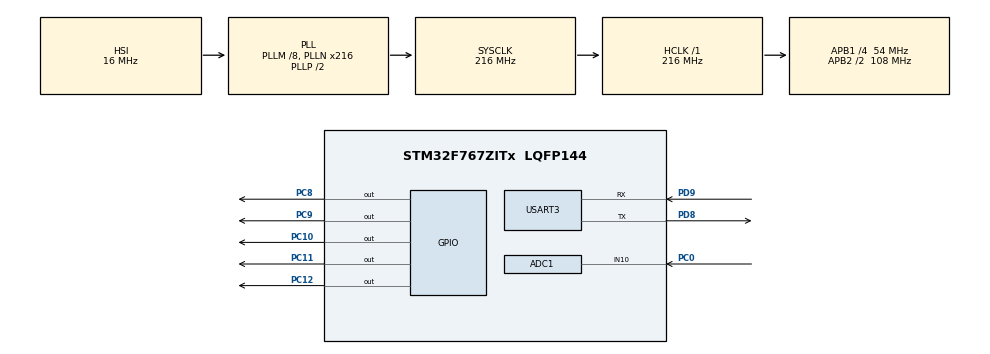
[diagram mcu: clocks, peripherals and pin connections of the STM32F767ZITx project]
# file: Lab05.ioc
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ADC1.Channel-0\#ChannelRegularConversion=ADC_CHANNEL_10
ADC1.ContinuousConvMode=ENABLE
ADC1.EOCSelection=ADC_EOC_SEQ_CONV
ADC1.NbrOfConversionFlag=1
ADC1.Rank-0\#ChannelRegularConversion=1
ADC1.SamplingTime-0\#ChannelRegularConversion=ADC_SAMPLETIME_3CYCLES
ADC1.master=1
Mcu.Family=STM32F7
Mcu.Name=STM32F767ZITx
Mcu.Package=LQFP144
NVIC.PriorityGroup=NVIC_PRIORITYGROUP_4
PC0.Signal=ADCx_IN10
PC10.Signal=GPIO_Output
PC11.Signal=GPIO_Output
PC12.Signal=GPIO_Output
PC8.Signal=GPIO_Output
PC9.Signal=GPIO_Output
PD8.Mode=Asynchronous
PD8.Signal=USART3_TX
PD9.Mode=Asynchronous
PD9.Signal=USART3_RX
ProjectManager.HeapSize=0x200
ProjectManager.StackSize=0x400
ProjectManager.TargetToolchain=STM32CubeIDE
RCC.AHBFreq_Value=216000000
RCC.APB1CLKDivider=RCC_HCLK_DIV4
RCC.APB1Freq_Value=54000000
RCC.APB1TimFreq_Value=108000000
RCC.APB2CLKDivider=RCC_HCLK_DIV2
RCC.APB2Freq_Value=108000000
RCC.APB2TimFreq_Value=216000000
RCC.CortexFreq_Value=216000000
RCC.HCLKFreq_Value=216000000
RCC.HSE_VALUE=25000000
RCC.HSI_VALUE=16000000
RCC.LSE_VALUE=32768
RCC.PLLM=8
RCC.PLLN=216
RCC.SYSCLKFreq_VALUE=216000000
RCC.SYSCLKSource=RCC_SYSCLKSOURCE_PLLCLK
RCC.USBFreq_Value=216000000
RCC.VCOOutputFreq_Value=432000000
SH.ADCx_IN10.0=ADC1_IN10,IN10
USART3.VirtualMode-Asynchronous=VM_ASYNC
board=custom

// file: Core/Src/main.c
/* USER CODE BEGIN Header */
/**
  ******************************************************************************
  * @file           : main.c
  * @brief          : Main program body
  ******************************************************************************
  * @attention
  *
  * Copyright (c) 2023 STMicroelectronics.
  * All rights reserved.
  *
  * This software is licensed under terms that can be found in the LICENSE file
  * in the root directory of this software component.
  * If no LICENSE file comes with this software, it is provided AS-IS.
  *
  ******************************************************************************
  */
/* USER CODE END Header */
#include "main.h"
#include "adc.h"
#include "usart.h"
#include "gpio.h"

/* USER CODE BEGIN Includes */
#include "string.h"
/* USER CODE END Includes */

/* USER CODE BEGIN PV */
volatile uint32_t adc_val = 0;
uint32_t adc_avg_8;
uint32_t adc_avg_16;

/* USER CODE END PV */

void SystemClock_Config(void);
/* USER CODE BEGIN PFP */
void displayHEX(uint32_t hex);
void displayLED(uint32_t hex);
int average_8(int x);
int average_16(int x);
/* USER CODE END PFP */

/* USER CODE BEGIN 0 */
void displayHEX(uint32_t hex){
	char temp_str[1000];
	sprintf(temp_str, "ADC1_CH10 0x%08x Vin = %.2f V\r\n", hex, (hex/4095.0)*3.3);

	while(__HAL_UART_GET_FLAG(&huart3, UART_FLAG_TC) == RESET){}
	HAL_UART_Transmit(&huart3, (uint8_t*) temp_str, strlen(temp_str), 1000);
}

void displayLED(uint32_t hex){
	const int level[5] = {4095.0/5, 4095.0*2/5, 4095.0*3/5, 4095.0*4/5, 4095.0};
	const uint16_t pin[5] = {GPIO_PIN_8, GPIO_PIN_9, GPIO_PIN_10, GPIO_PIN_11};
	for(int i = 0; i < 5; i++){
		hex >= level[i]? HAL_GPIO_WritePin(GPIOC, pin[i], 1): HAL_GPIO_WritePin(GPIOC, pin[i], 0);
	}
}

int average_8(int x){
	static int samples[8];
	static int i = 0;
	static int total = 0;

	total += x - samples[i];
	samples[i] = x;

	i = (i==7? 0: i+1);

	return total >> 3;
}

int average_16(int x){
	static int samples[16];
	static int i = 0;
	static int total = 0;

	total += x - samples[i];
	samples[i] = x;

	i = (i==15? 0: i+1);

	return total >> 4;
}

/* USER CODE END 0 */

int main(void)
{

  /* MCU Configuration--------------------------------------------------------*/

  /* Reset of all peripherals, Initializes the Flash interface and the Systick. */
  HAL_Init();

  /* Configure the system clock */
  SystemClock_Config();

  /* Initialize all configured peripherals */
  MX_GPIO_Init();
  MX_USART3_UART_Init();
  MX_ADC1_Init();
  /* USER CODE BEGIN 2 */
  HAL_ADC_Start(&hadc1);
  /* USER CODE END 2 */

  /* Infinite loop */
  while (1)
  {

    /* USER CODE BEGIN 3 */
	while(HAL_ADC_PollForConversion(&hadc1, 100) != HAL_OK) {}
	adc_val = HAL_ADC_GetValue(&hadc1);
	displayHEX(adc_val);
	displayLED(adc_val);
	adc_avg_8 = average_8(adc_val);
	adc_avg_16 = average_16(adc_val);

	HAL_Delay(400);
  }
  /* USER CODE END 3 */
}

void SystemClock_Config(void)
{
  RCC_OscInitTypeDef RCC_OscInitStruct = {0};
  RCC_ClkInitTypeDef RCC_ClkInitStruct = {0};

  /** Configure the main internal regulator output voltage
  */
  __HAL_RCC_PWR_CLK_ENABLE();
  __HAL_PWR_VOLTAGESCALING_CONFIG(PWR_REGULATOR_VOLTAGE_SCALE1);

  /** Initializes the RCC Oscillators according to the specified parameters
  * in the RCC_OscInitTypeDef structure.
  */
  RCC_OscInitStruct.OscillatorType = RCC_OSCILLATORTYPE_HSI;
  RCC_OscInitStruct.HSIState = RCC_HSI_ON;
  RCC_OscInitStruct.HSICalibrationValue = RCC_HSICALIBRATION_DEFAULT;
  RCC_OscInitStruct.PLL.PLLState = RCC_PLL_ON;
  RCC_OscInitStruct.PLL.PLLSource = RCC_PLLSOURCE_HSI;
  RCC_OscInitStruct.PLL.PLLM = 8;
  RCC_OscInitStruct.PLL.PLLN = 216;
  RCC_OscInitStruct.PLL.PLLP = RCC_PLLP_DIV2;
  RCC_OscInitStruct.PLL.PLLQ = 2;
  RCC_OscInitStruct.PLL.PLLR = 2;
  if (HAL_RCC_OscConfig(&RCC_OscInitStruct) != HAL_OK)
  {
    Error_Handler();
  }

  /** Activate the Over-Drive mode
  */
  if (HAL_PWREx_EnableOverDrive() != HAL_OK)
  {
    Error_Handler();
  }

  /** Initializes the CPU, AHB and APB buses clocks
  */
  RCC_ClkInitStruct.ClockType = RCC_CLOCKTYPE_HCLK|RCC_CLOCKTYPE_SYSCLK
                              |RCC_CLOCKTYPE_PCLK1|RCC_CLOCKTYPE_PCLK2;
  RCC_ClkInitStruct.SYSCLKSource = RCC_SYSCLKSOURCE_PLLCLK;
  RCC_ClkInitStruct.AHBCLKDivider = RCC_SYSCLK_DIV1;
  RCC_ClkInitStruct.APB1CLKDivider = RCC_HCLK_DIV4;
  RCC_ClkInitStruct.APB2CLKDivider = RCC_HCLK_DIV2;

  if (HAL_RCC_ClockConfig(&RCC_ClkInitStruct, FLASH_LATENCY_7) != HAL_OK)
  {
    Error_Handler();
  }
}

void Error_Handler(void)
{
  __disable_irq();
  while (1)
  {
  }
}
